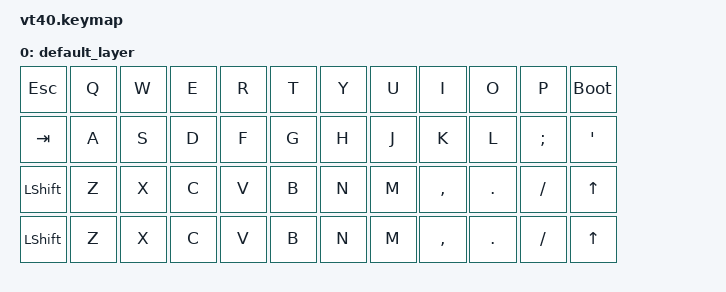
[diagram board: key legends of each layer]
#include <behaviors.dtsi>
#include <dt-bindings/zmk/bt.h>
#include <dt-bindings/zmk/keys.h>

/ {
    keymap {
        compatible = "zmk,keymap";

        default_layer {
            bindings = <
                &kp ESC    &kp Q    &kp W    &kp E      &kp R  &kp T     &kp Y  &kp U  &kp I     &kp O    &kp P     &bootloader
                &kp TAB    &kp A    &kp S    &kp D      &kp F  &kp G     &kp H  &kp J  &kp K     &kp L    &kp SEMI  &kp SQT
                &kp LSHIFT &kp Z    &kp X    &kp C      &kp V  &kp B     &kp N  &kp M  &kp COMMA &kp DOT  &kp FSLH  &kp UP
                &kp LSHIFT &kp Z    &kp X    &kp C      &kp V  &kp B     &kp N  &kp M  &kp COMMA &kp DOT  &kp FSLH  &kp UP
            >;
        };
    };
};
